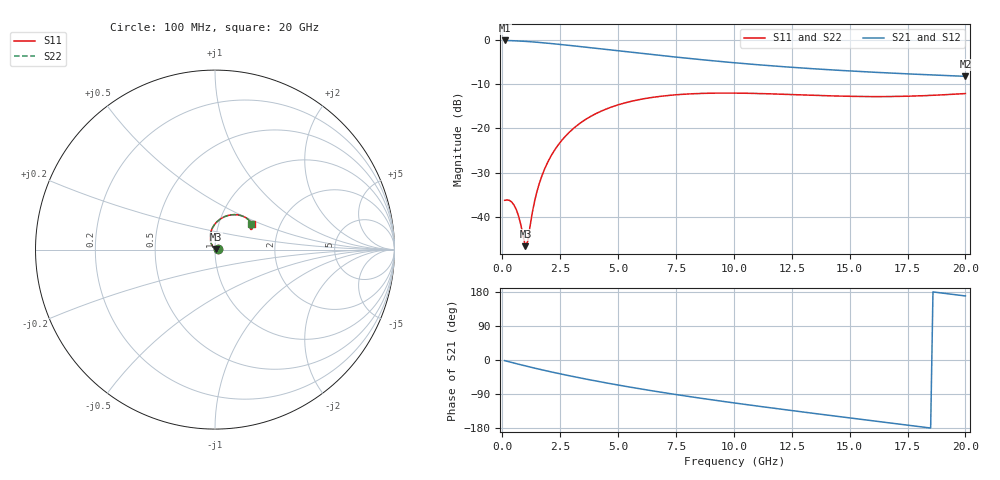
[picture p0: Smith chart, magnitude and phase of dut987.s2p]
! Touchstone file exported from HFSS 2024.1.0
!  File:  C:/UserFiles/LocalFiles/RDL_TSV_Batchsim/temp_RDL_TSV_987_1779974676.aedt
!  Generated:  09:37:38 PM May 28, 2026
!  Design:  RDL_TSV
!  Project:  temp_RDL_TSV_987_1779974676
!  Setup:  Setup1
!  Solution:  Sweep
! Variables:
!  dtsv = 8.58um
!  hbump = 3um
!  htsv = 74.95um
!  ldown = 513.57um
!  lrdl = 300.97um
!  p = 40
!  p1 = 44.2um
!  rhole = 10um
!  subl = 2744.59um
!  t = 450um
!  tdown = 3.89um
!  trdl = 2.15um
!  viad = 10um
!  wdown = 22.79um
!  wrdl = 24.35um
!  xbump = 18um
# GHz S MA R 50.000000
! Terminal data exported
! Port[1] = TM1_1_T1
! Port[2] = TM1_4_T1
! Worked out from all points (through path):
!   200 points, 100 MHz to 20 GHz, reference 50 ohm
!   highest |S21| = -0.14 dB at 100 MHz (marker M1); lowest = -8.2 dB at 20 GHz (marker M2)
!   group delay of S21, straight-line fit = 25.2 ps
!   lowest |S11| = -46.6 dB at 1 GHz (marker M3), VSWR 1.01, Z = 50.3 + j0.367 ohm
!   |S11| at or under -10 dB: start of sweep to end of sweep
!   |S22| runs from -46.6 to -12.0 dB; largest |S21 - S12| = 2.2e-14
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0.1  0.01544 2.2  0.9842 -1.6  0.9842 -1.6  0.01544 2.2
! Gamma 0 0 0 0
! Port Impedance 50 0 50 0
0.4  0.01483 2.6  0.979 -6.4  0.979 -6.4  0.01483 2.6
0.6  0.01221 2.6  0.974 -9.5  0.974 -9.5  0.01221 2.6
0.8  0.00819 9.9  0.968 -12.6  0.968 -12.6  0.008184 9.9
1  0.004689 51.1  0.9609 -15.6  0.9609 -15.6  0.004692 51.2
1.1  0.005346 88.2  0.957 -17.1  0.957 -17.1  0.00536 88.3
1.3  0.01137 119.3  0.9486 -20.1  0.9486 -20.1  0.01139 119.2
1.5  0.01953 124.9  0.9394 -22.9  0.9394 -22.9  0.01955 124.8
1.7  0.02866 124.7  0.9297 -25.8  0.9297 -25.8  0.02868 124.6
1.9  0.03841 122.6  0.9195 -28.5  0.9195 -28.5  0.03844 122.6
2.2  0.05381 118.2  0.9036 -32.6  0.9036 -32.6  0.05384 118.1
2.6  0.07501 111.5  0.8818 -37.8  0.8818 -37.8  0.07503 111.5
3  0.09616 104.8  0.8598 -42.9  0.8598 -42.9  0.09618 104.8
3.5  0.1216 96.8  0.8324 -49.0  0.8324 -49.0  0.1216 96.8
4.2  0.1538 86.5  0.7947 -57.2  0.7947 -57.2  0.1537 86.4
4.9  0.1811 77.3  0.7583 -65.0  0.7583 -65.0  0.1811 77.3
6.8  0.23 57.5  0.6682 -84.5  0.6682 -84.5  0.2298 57.5
8.4  0.2474 45.6  0.6044 -99.4  0.6044 -99.4  0.2471 45.6
10.1  0.2504 36.8  0.5491 -114.0  0.5491 -114.0  0.25 36.8
13.4  0.2367 29.1  0.4723 -140.4  0.4723 -140.4  0.2361 29.1
16.7  0.2291 30.8  0.4226 -165.8  0.4226 -165.8  0.2285 30.9
20  0.2477 34.8  0.3874 169.0  0.3874 169.0  0.2473 35.0
